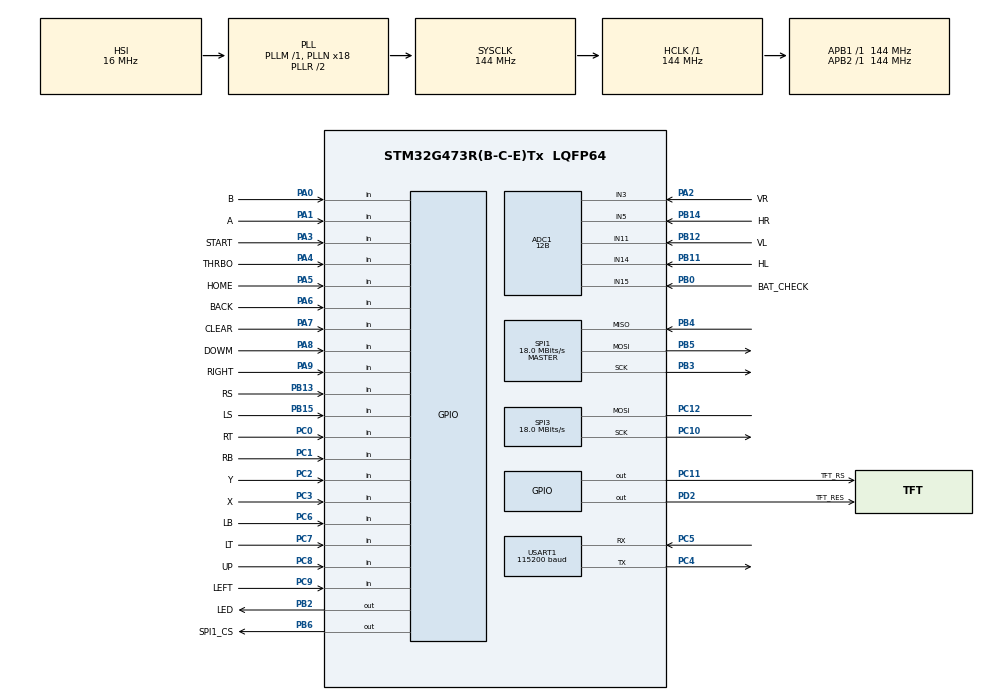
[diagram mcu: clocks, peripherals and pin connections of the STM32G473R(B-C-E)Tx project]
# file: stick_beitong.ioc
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ADC1.Channel-0\#ChannelRegularConversion=ADC_CHANNEL_14
ADC1.Channel-1\#ChannelRegularConversion=ADC_CHANNEL_11
ADC1.Channel-2\#ChannelRegularConversion=ADC_CHANNEL_5
ADC1.Channel-3\#ChannelRegularConversion=ADC_CHANNEL_3
ADC1.Channel-4\#ChannelRegularConversion=ADC_CHANNEL_15
ADC1.Channel-IN11=ADC_CHANNEL_11
ADC1.Channel-IN14=ADC_CHANNEL_14
ADC1.Channel-IN15=ADC_CHANNEL_15
ADC1.Channel-IN3=ADC_CHANNEL_3
ADC1.Channel-IN5=ADC_CHANNEL_5
ADC1.ClockPrescaler=ADC_CLOCK_SYNC_PCLK_DIV4
ADC1.ContinuousConvMode=DISABLE
ADC1.DMAContinuousRequests=DISABLE
ADC1.DataAlign=ADC_DATAALIGN_RIGHT
ADC1.DiscontinuousConvMode=DISABLE
ADC1.EOCSelection=ADC_EOC_SEQ_CONV
ADC1.EnableAnalogWatchDog1=false
ADC1.EnableAnalogWatchDog2=false
ADC1.EnableAnalogWatchDog3=false
ADC1.EnableInjectedConversion=DISABLE
ADC1.EnableRegularConversion=ENABLE
ADC1.ExternalTrigConv=ADC_SOFTWARE_START
ADC1.ExternalTrigConvEdge=ADC_EXTERNALTRIGCONVEDGE_NONE
ADC1.GainCompensation=0
ADC1.LowPowerAutoWait=DISABLE
ADC1.Mode=ADC_MODE_INDEPENDENT
ADC1.NbrOfConversion=5
ADC1.OffsetNumber-0\#ChannelRegularConversion=ADC_OFFSET_NONE
ADC1.OffsetNumber-1\#ChannelRegularConversion=ADC_OFFSET_NONE
ADC1.OffsetNumber-2\#ChannelRegularConversion=ADC_OFFSET_NONE
ADC1.OffsetNumber-3\#ChannelRegularConversion=ADC_OFFSET_NONE
ADC1.OffsetNumber-4\#ChannelRegularConversion=ADC_OFFSET_NONE
ADC1.Overrun=ADC_OVR_DATA_PRESERVED
ADC1.OversamplingMode=DISABLE
ADC1.Rank-0\#ChannelRegularConversion=1
ADC1.Rank-1\#ChannelRegularConversion=2
ADC1.Rank-2\#ChannelRegularConversion=3
ADC1.Rank-3\#ChannelRegularConversion=4
ADC1.Rank-4\#ChannelRegularConversion=5
ADC1.Resolution=ADC_RESOLUTION_12B
ADC1.SamplingTime-0\#ChannelRegularConversion=ADC_SAMPLETIME_247CYCLES_5
ADC1.SamplingTime-1\#ChannelRegularConversion=ADC_SAMPLETIME_247CYCLES_5
ADC1.SamplingTime-2\#ChannelRegularConversion=ADC_SAMPLETIME_247CYCLES_5
ADC1.SamplingTime-3\#ChannelRegularConversion=ADC_SAMPLETIME_247CYCLES_5
ADC1.SamplingTime-4\#ChannelRegularConversion=ADC_SAMPLETIME_247CYCLES_5
ADC1.ScanConvMode=ADC_SCAN_ENABLE
ADC1.master=1
Dma.ADC1.0.Direction=DMA_PERIPH_TO_MEMORY
Dma.ADC1.0.EventEnable=DISABLE
Dma.ADC1.0.Instance=DMA1_Channel1
Dma.ADC1.0.MemDataAlignment=DMA_MDATAALIGN_HALFWORD
Dma.ADC1.0.MemInc=DMA_MINC_ENABLE
Dma.ADC1.0.Mode=DMA_NORMAL
Dma.ADC1.0.PeriphDataAlignment=DMA_PDATAALIGN_HALFWORD
Dma.ADC1.0.PeriphInc=DMA_PINC_DISABLE
Dma.ADC1.0.Polarity=HAL_DMAMUX_REQ_GEN_RISING
Dma.ADC1.0.Priority=DMA_PRIORITY_LOW
Dma.ADC1.0.RequestNumber=1
Dma.ADC1.0.SignalID=NONE
Dma.ADC1.0.SyncEnable=DISABLE
Dma.ADC1.0.SyncPolarity=HAL_DMAMUX_SYNC_NO_EVENT
Dma.ADC1.0.SyncRequestNumber=1
Dma.ADC1.0.SyncSignalID=NONE
Dma.Request0=ADC1
Dma.Request1=USART1_TX
Dma.USART1_TX.1.Direction=DMA_MEMORY_TO_PERIPH
Dma.USART1_TX.1.EventEnable=DISABLE
Dma.USART1_TX.1.Instance=DMA1_Channel2
Dma.USART1_TX.1.MemDataAlignment=DMA_MDATAALIGN_BYTE
Dma.USART1_TX.1.MemInc=DMA_MINC_ENABLE
Dma.USART1_TX.1.Mode=DMA_NORMAL
Dma.USART1_TX.1.PeriphDataAlignment=DMA_PDATAALIGN_BYTE
Dma.USART1_TX.1.PeriphInc=DMA_PINC_DISABLE
Dma.USART1_TX.1.Polarity=HAL_DMAMUX_REQ_GEN_RISING
Dma.USART1_TX.1.Priority=DMA_PRIORITY_HIGH
Dma.USART1_TX.1.RequestNumber=1
Dma.USART1_TX.1.SignalID=NONE
Dma.USART1_TX.1.SyncEnable=DISABLE
Dma.USART1_TX.1.SyncPolarity=HAL_DMAMUX_SYNC_NO_EVENT
Dma.USART1_TX.1.SyncRequestNumber=1
Dma.USART1_TX.1.SyncSignalID=NONE
Mcu.Family=STM32G4
Mcu.Name=STM32G473R(B-C-E)Tx
Mcu.Package=LQFP64
NVIC.DMA1_Channel1_IRQn=true\:0\:0\:false\:false\:true\:false\:true\:true
NVIC.DMA1_Channel2_IRQn=true\:0\:0\:false\:false\:true\:false\:true\:true
NVIC.PriorityGroup=NVIC_PRIORITYGROUP_4
NVIC.TIM1_UP_TIM16_IRQn=true\:0\:0\:false\:false\:true\:true\:true\:true
NVIC.TIM2_IRQn=true\:0\:0\:false\:false\:true\:true\:true\:true
NVIC.USART1_IRQn=true\:0\:0\:false\:false\:true\:true\:true\:true
PA0.GPIO_Label=B
PA0.GPIO_PuPd=GPIO_PULLUP
PA0.Signal=GPIO_Input
PA1.GPIO_Label=A
PA1.GPIO_PuPd=GPIO_PULLUP
PA1.Signal=GPIO_Input
PA10.GPIO_Label=BUZZER
PA10.Signal=S_TIM1_CH3
PA13.Mode=Serial_Wire
PA13.Signal=SYS_JTMS-SWDIO
PA14.Mode=Serial_Wire
PA14.Signal=SYS_JTCK-SWCLK
PA2.GPIO_Label=VR
PA2.Mode=IN3-Single-Ended
PA2.Signal=ADC1_IN3
PA3.GPIO_Label=START
PA3.GPIO_PuPd=GPIO_PULLUP
PA3.Signal=GPIO_Input
PA4.GPIO_Label=THRBO
PA4.GPIO_PuPd=GPIO_PULLUP
PA4.Signal=GPIO_Input
PA5.GPIO_Label=HOME
PA5.GPIO_PuPd=GPIO_PULLUP
PA5.Signal=GPIO_Input
PA6.GPIO_Label=BACK
PA6.GPIO_PuPd=GPIO_PULLUP
PA6.Signal=GPIO_Input
PA7.GPIO_Label=CLEAR
PA7.GPIO_PuPd=GPIO_PULLUP
PA7.Signal=GPIO_Input
PA8.GPIO_Label=DOWM
PA8.GPIO_PuPd=GPIO_PULLUP
PA8.Signal=GPIO_Input
PA9.GPIO_Label=RIGHT
PA9.GPIO_PuPd=GPIO_PULLUP
PA9.Signal=GPIO_Input
PB0.GPIO_Label=BAT_CHECK
PB0.Mode=IN15-Single-Ended
PB0.Signal=ADC1_IN15
PB11.GPIO_Label=HL
PB11.Mode=IN14-Single-Ended
PB11.Signal=ADC1_IN14
PB12.GPIO_Label=VL
PB12.Mode=IN11-Single-Ended
PB12.Signal=ADC1_IN11
PB13.GPIO_Label=RS
PB13.GPIO_PuPd=GPIO_PULLUP
PB13.Signal=GPIO_Input
PB14.GPIO_Label=HR
PB14.Mode=IN5-Single-Ended
PB14.Signal=ADC1_IN5
PB15.GPIO_Label=LS
PB15.GPIO_PuPd=GPIO_PULLUP
PB15.Signal=GPIO_Input
PB2.GPIO_Label=LED
PB2.Signal=GPIO_Output
PB3.Mode=Full_Duplex_Master
PB3.Signal=SPI1_SCK
PB4.Mode=Full_Duplex_Master
PB4.Signal=SPI1_MISO
PB5.Mode=Full_Duplex_Master
PB5.Signal=SPI1_MOSI
PB6.GPIO_Label=SPI1_CS
PB6.Signal=GPIO_Output
PC0.GPIO_Label=RT
PC0.GPIO_PuPd=GPIO_PULLUP
PC0.Signal=GPIO_Input
PC1.GPIO_Label=RB
PC1.GPIO_PuPd=GPIO_PULLUP
PC1.Signal=GPIO_Input
PC10.Mode=Simplex_Bidirectional_Master
PC10.Signal=SPI3_SCK
PC11.GPIO_Label=TFT_RS
PC11.GPIO_Speed=GPIO_SPEED_FREQ_MEDIUM
PC11.PinState=GPIO_PIN_SET
PC11.Signal=GPIO_Output
PC12.Mode=Simplex_Bidirectional_Master
PC12.Signal=SPI3_MOSI
PC2.GPIO_Label=Y
PC2.GPIO_PuPd=GPIO_PULLUP
PC2.Signal=GPIO_Input
PC3.GPIO_Label=X
PC3.GPIO_PuPd=GPIO_PULLUP
PC3.Signal=GPIO_Input
PC4.Mode=Asynchronous
PC4.Signal=USART1_TX
PC5.Mode=Asynchronous
PC5.Signal=USART1_RX
PC6.GPIO_Label=LB
PC6.GPIO_PuPd=GPIO_PULLUP
PC6.Signal=GPIO_Input
PC7.GPIO_Label=LT
PC7.GPIO_PuPd=GPIO_PULLUP
PC7.Signal=GPIO_Input
PC8.GPIO_Label=UP
PC8.GPIO_PuPd=GPIO_PULLUP
PC8.Signal=GPIO_Input
PC9.GPIO_Label=LEFT
PC9.GPIO_PuPd=GPIO_PULLUP
PC9.Signal=GPIO_Input
PD2.GPIO_Label=TFT_RES
PD2.GPIO_Speed=GPIO_SPEED_FREQ_MEDIUM
PD2.PinState=GPIO_PIN_SET
PD2.Signal=GPIO_Output
PF0-OSC_IN.Mode=HSE-External-Oscillator
PF0-OSC_IN.Signal=RCC_OSC_IN
PF1-OSC_OUT.Mode=HSE-External-Oscillator
PF1-OSC_OUT.Signal=RCC_OSC_OUT
ProjectManager.HeapSize=0x600
ProjectManager.StackSize=0x800
ProjectManager.TargetToolchain=MDK-ARM V5.32
RCC.ADC12Freq_Value=144000000
RCC.ADC345Freq_Value=144000000
RCC.AHBFreq_Value=144000000
RCC.APB1Freq_Value=144000000
RCC.APB1TimFreq_Value=144000000
RCC.APB2Freq_Value=144000000
RCC.APB2TimFreq_Value=144000000
RCC.CortexFreq_Value=144000000
RCC.EXTERNAL_CLOCK_VALUE=12288000
RCC.HCLKFreq_Value=144000000
RCC.HSE_VALUE=32000000
RCC.HSI48_VALUE=48000000
RCC.HSI_VALUE=16000000
RCC.LSE_VALUE=32768
RCC.PLLN=18
RCC.PLLQ=RCC_PLLQ_DIV6
RCC.SYSCLKFreq_VALUE=144000000
RCC.SYSCLKSource=RCC_SYSCLKSOURCE_PLLCLK
RCC.USBFreq_Value=48000000
RCC.VCOOutputFreq_Value=288000000
SH.S_TIM1_CH3.0=TIM1_CH3
SPI1.BaudRatePrescaler=SPI_BAUDRATEPRESCALER_8
SPI1.CLKPhase=SPI_PHASE_1EDGE
SPI1.CLKPolarity=SPI_POLARITY_LOW
SPI1.CRCCalculation=SPI_CRCCALCULATION_DISABLE
SPI1.CalculateBaudRate=18.0 MBits/s
SPI1.DataSize=SPI_DATASIZE_8BIT
SPI1.Direction=SPI_DIRECTION_2LINES
SPI1.FirstBit=SPI_FIRSTBIT_MSB
SPI1.Mode=SPI_MODE_MASTER
SPI1.NSS=SPI_NSS_SOFT
SPI1.NSSPMode=SPI_NSS_PULSE_ENABLE
SPI1.TIMode=SPI_TIMODE_DISABLE
SPI1.VirtualType=VM_MASTER
SPI3.BaudRatePrescaler=SPI_BAUDRATEPRESCALER_8
SPI3.CLKPhase=SPI_PHASE_2EDGE
SPI3.CLKPolarity=SPI_POLARITY_HIGH
SPI3.CRCCalculation=SPI_CRCCALCULATION_DISABLE
SPI3.CalculateBaudRate=18.0 MBits/s
SPI3.DataSize=SPI_DATASIZE_8BIT
SPI3.Direction=SPI_DIRECTION_1LINE
SPI3.FirstBit=SPI_FIRSTBIT_MSB
SPI3.Mode=SPI_MODE_MASTER
SPI3.NSS=SPI_NSS_SOFT
SPI3.TIMode=SPI_TIMODE_DISABLE
SPI3.VirtualType=VM_MASTER
TIM1.PeriodNoDither=50000
TIM1.Prescaler=169
TIM2.AutoReloadPreload=TIM_AUTORELOAD_PRELOAD_DISABLE
TIM2.ClockDivision=TIM_CLOCKDIVISION_DIV1
TIM2.CounterMode=TIM_COUNTERMODE_UP
TIM2.Dithering=Disable
TIM2.PeriodNoDither=4999
TIM2.Prescaler=169
TIM2.TIM_MasterOutputTrigger=TIM_TRGO_RESET
TIM2.TIM_MasterSlaveMode=TIM_MASTERSLAVEMODE_DISABLE
USART1.AutoBaudRateEnableParam=UART_ADVFEATURE_AUTOBAUDRATE_DISABLE
USART1.BaudRate=115200
USART1.ClockPrescaler=PRESCALER_DIV1
USART1.DMADisableonRxErrorParam=ADVFEATURE_DMA_ENABLEONRXERROR
USART1.DataInvertParam=ADVFEATURE_DATAINV_DISABLE
USART1.FIFOMode=FIFOMODE_DISABLE
USART1.MSBFirstParam=ADVFEATURE_MSBFIRST_DISABLE
USART1.Mode=MODE_TX_RX
USART1.OneBitSampling=UART_ONE_BIT_SAMPLE_DISABLE
USART1.OverSampling=UART_OVERSAMPLING_16
USART1.OverrunDisableParam=ADVFEATURE_OVERRUN_ENABLE
USART1.Parity=PARITY_NONE
USART1.RXFIFOThreshold=RXFIFO_THRESHOLD_1EIGHTHFULL
USART1.RxPinLevelInvertParam=ADVFEATURE_RXINV_DISABLE
USART1.StopBits=STOPBITS_1
USART1.SwapParam=ADVFEATURE_SWAP_DISABLE
USART1.TXFIFOThreshold=TXFIFO_THRESHOLD_1EIGHTHFULL
USART1.TxPinLevelInvertParam=ADVFEATURE_TXINV_DISABLE
USART1.VirtualMode-Asynchronous=VM_ASYNC
USART1.WordLength=WORDLENGTH_8B
VP_SYS_VS_DBSignals.Mode=DisableDeadBatterySignals
VP_SYS_V_VREFBUF.Mode=ExternalMode
VP_TIM1_VS_ClockSourceINT.Mode=Internal
VP_TIM2_VS_ClockSourceINT.Mode=Internal
board=custom

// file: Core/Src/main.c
/* USER CODE BEGIN Header */
/**
 ******************************************************************************
 * @file           : main.c
 * @brief          : Main program body
 ******************************************************************************
 * @attention
 *
 * Copyright (c) 2024 STMicroelectronics.
 * All rights reserved.
 *
 * This software is licensed under terms that can be found in the LICENSE file
 * in the root directory of this software component.
 * If no LICENSE file comes with this software, it is provided AS-IS.
 *
 ******************************************************************************
 */
/* USER CODE END Header */
#include "main.h"
#include "adc.h"
#include "dma.h"
#include "spi.h"
#include "tim.h"
#include "usart.h"
#include "gpio.h"

/* USER CODE BEGIN Includes */
#include <stdio.h>
#include "maincpp.h"
#include "lcd.h"
#include "lcd_init.h"

#include "joystick.h"

/* USER CODE END Includes */

void SystemClock_Config(void);
/* USER CODE BEGIN PFP */
extern UART_HandleTypeDef huart1;
/* USER CODE END PFP */

/* USER CODE BEGIN 0 */
float remap(float x, float y, float x1, float y1, float value)
{
	return x1 + (value - x) * (y1 - x1) / (y - x);
}
void GuiUpdate(void)
{
  char battery_inf[10] = {0};
  sprintf(battery_inf, "%3d%%", (int)(remap(140, 196, 0, 10, (float)(adc_vals[4] / 10))) * 10);
  LCD_ShowString(5, 5, (uint8_t *)battery_inf, BLUE, WHITE, 16, 0);
}

int TIM2_FLAG = 0;

void tim2_callback(void)
{
  LL_TIM_ClearFlag_UPDATE(TIM2);
  TIM2_FLAG = 1;
  // !5ms的中断用于判断按键
  JoystickDataUpdate();
  // JoystickDataTransmit();

  InterfaceStateUpdate();
}

void tim1_callback(void)
{
	LL_TIM_ClearFlag_UPDATE(TIM1);
	GuiUpdate();
}
/* USER CODE END 0 */

int main(void)
{

  /* MCU Configuration--------------------------------------------------------*/

  /* Reset of all peripherals, Initializes the Flash interface and the Systick. */
  HAL_Init();

  /* Configure the system clock */
  SystemClock_Config();

  /* Initialize all configured peripherals */
  MX_GPIO_Init();
  MX_DMA_Init();
  MX_ADC1_Init();
  MX_SPI1_Init();
  MX_USART1_UART_Init();
  MX_TIM2_Init();
  MX_SPI3_Init();
  MX_TIM1_Init();
  /* USER CODE BEGIN 2 */

  // LL_SPI_Enable(SPI3);

  LCD_Init();
  HAL_Delay(1);
  LCD_Fill(0, 0, 160, 80, WHITE);

	HAL_ADCEx_Calibration_Start(&hadc1, 0); // AD校准
	HAL_ADC_Start(&hadc1); // 启动ADC转换

	LL_TIM_EnableCounter(TIM2);
  LL_TIM_EnableIT_UPDATE(TIM2);

	LL_TIM_EnableCounter(TIM1);
  LL_TIM_EnableIT_UPDATE(TIM1);

  MainCppInit();
  /* USER CODE END 2 */

  /* Infinite loop */
  /* USER CODE BEGIN WHILE */
  while (1)
  {
    //    JoystickDataTransmit();
    MainCppLoop();
    /* USER CODE END WHILE */

  }
}

void SystemClock_Config(void)
{
  RCC_OscInitTypeDef RCC_OscInitStruct = {0};
  RCC_ClkInitTypeDef RCC_ClkInitStruct = {0};

  /** Configure the main internal regulator output voltage
  */
  HAL_PWREx_ControlVoltageScaling(PWR_REGULATOR_VOLTAGE_SCALE1);

  /** Initializes the RCC Oscillators according to the specified parameters
  * in the RCC_OscInitTypeDef structure.
  */
  RCC_OscInitStruct.OscillatorType = RCC_OSCILLATORTYPE_HSI;
  RCC_OscInitStruct.HSIState = RCC_HSI_ON;
  RCC_OscInitStruct.HSICalibrationValue = RCC_HSICALIBRATION_DEFAULT;
  RCC_OscInitStruct.PLL.PLLState = RCC_PLL_ON;
  RCC_OscInitStruct.PLL.PLLSource = RCC_PLLSOURCE_HSI;
  RCC_OscInitStruct.PLL.PLLM = RCC_PLLM_DIV1;
  RCC_OscInitStruct.PLL.PLLN = 18;
  RCC_OscInitStruct.PLL.PLLP = RCC_PLLP_DIV2;
  RCC_OscInitStruct.PLL.PLLQ = RCC_PLLQ_DIV6;
  RCC_OscInitStruct.PLL.PLLR = RCC_PLLR_DIV2;
  if (HAL_RCC_OscConfig(&RCC_OscInitStruct) != HAL_OK)
  {
    Error_Handler();
  }

  /** Initializes the CPU, AHB and APB buses clocks
  */
  RCC_ClkInitStruct.ClockType = RCC_CLOCKTYPE_HCLK|RCC_CLOCKTYPE_SYSCLK
                              |RCC_CLOCKTYPE_PCLK1|RCC_CLOCKTYPE_PCLK2;
  RCC_ClkInitStruct.SYSCLKSource = RCC_SYSCLKSOURCE_PLLCLK;
  RCC_ClkInitStruct.AHBCLKDivider = RCC_SYSCLK_DIV1;
  RCC_ClkInitStruct.APB1CLKDivider = RCC_HCLK_DIV1;
  RCC_ClkInitStruct.APB2CLKDivider = RCC_HCLK_DIV1;

  if (HAL_RCC_ClockConfig(&RCC_ClkInitStruct, FLASH_LATENCY_4) != HAL_OK)
  {
    Error_Handler();
  }
}

void Error_Handler(void)
{
  __disable_irq();
  while (1)
  {
  }
}
